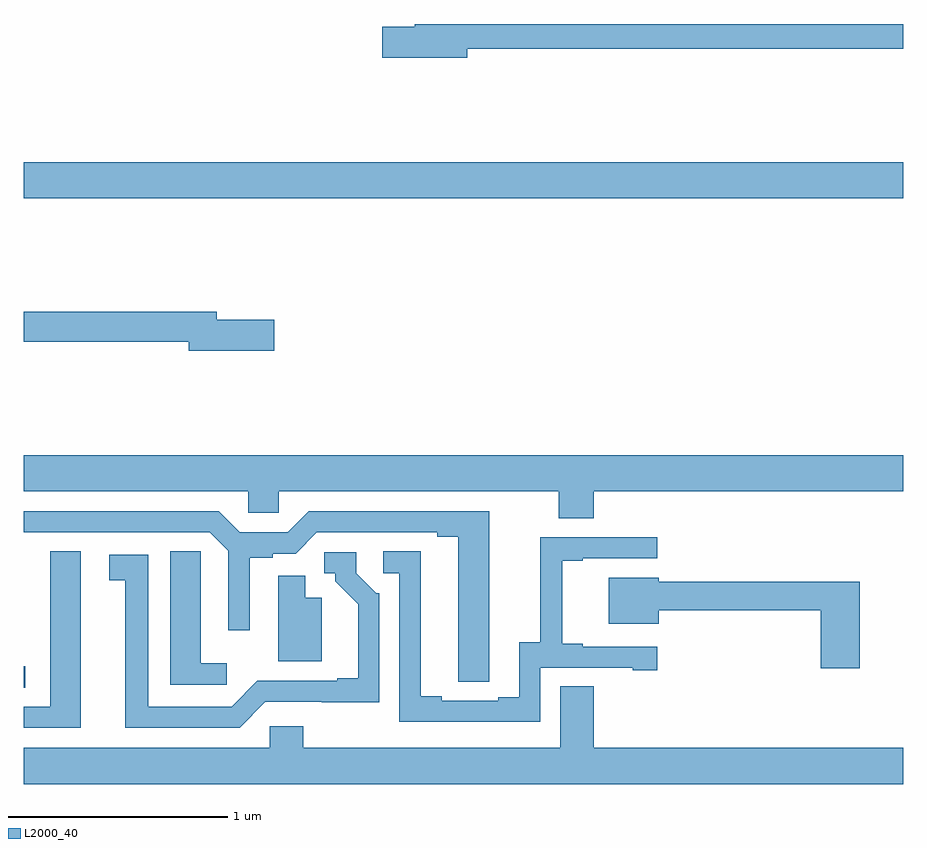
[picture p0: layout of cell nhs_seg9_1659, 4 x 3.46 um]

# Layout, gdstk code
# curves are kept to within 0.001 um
import gdstk
lib = gdstk.Library(unit=1e-6, precision=1e-09)
def R(c, l, rs):  # rectangles x0, y0, x1, y1
    for r in rs: c.add(gdstk.rectangle(r[:2], r[2:], *l))
def P(c, l, *ps):  # polygons
    for p in ps: c.add(gdstk.Polygon(p, *l))
L2000_40 = (2000, 40)

nhs_seg9_1659 = lib.new_cell('nhs_seg9_1659')
R(nhs_seg9_1659, L2000_40, [(203,1239.481,203.008,1239.579), (203,1241.708,207,1241.872)])
P(nhs_seg9_1659, L2000_40, [(205.018,1242.388),(207,1242.388),(207,1242.5),(204.779,1242.5),(204.779,1242.488),(204.63,1242.488),(204.63,1242.346),(205.018,1242.346)],
  [(204.139,1241.156),(203.878,1241.156),(203.878,1241.192),(203,1241.192),(203,1241.056),(203.75,1241.056),(203.75,1241.014),(204.139,1241.014)],
  [(205.592,1240.376),(207,1240.376),(207,1240.54),(203,1240.54),(203,1240.376),(204.021,1240.376),(204.021,1240.278),(204.159,1240.278),(204.159,1240.376),(205.432,1240.376),(205.432,1240.252),(205.592,1240.252)],
  [(205.116,1239.616),(205.117,1240.284),(204.297,1240.284),(204.201,1240.188),(203.983,1240.188),(203.887,1240.284),(203,1240.284),(203,1240.188),(203.847,1240.188),(203.931,1240.104),(203.931,1239.744),(204.028,1239.744),(204.028,1240.072),(204.132,1240.072),(204.132,1240.092),(204.237,1240.092),(204.333,1240.188),(204.881,1240.188),(204.881,1240.168),(204.977,1240.168),(204.977,1239.508),(205.116,1239.508)],
  [(205.35,1239.573),(205.769,1239.573),(205.769,1239.561),(205.882,1239.561),(205.882,1239.669),(205.543,1239.669),(205.543,1239.682),(205.448,1239.682),(205.448,1240.059),(205.543,1240.059),(205.543,1240.071),(205.882,1240.071),(205.882,1240.167),(205.348,1240.167),(205.348,1239.689),(205.253,1239.689),(205.253,1239.438),(205.157,1239.438),(205.157,1239.423),(204.901,1239.423),(204.901,1239.443),(204.805,1239.443),(204.805,1240.103),(204.636,1240.103),(204.636,1240.002),(204.708,1240.002),(204.708,1239.327),(205.35,1239.327)],
  [(203.923,1239.592),(203.806,1239.592),(203.806,1239.995),(203.805,1239.995),(203.805,1240.103),(203.666,1240.103),(203.666,1239.495),(203.923,1239.495)],
  [(203.26,1240.102),(203.12,1240.102),(203.12,1239.396),(203,1239.396),(203,1239.3),(203.26,1239.3)],
  [(204.099,1239.417),(204.618,1239.416),(204.618,1239.912),(204.603,1239.912),(204.513,1240.002),(204.513,1240.098),(204.366,1240.098),(204.366,1240.002),(204.416,1240.002),(204.416,1239.967),(204.521,1239.862),(204.521,1239.526),(204.425,1239.526),(204.425,1239.513),(204.063,1239.513),(203.946,1239.396),(203.566,1239.396),(203.566,1240.086),(203.388,1240.086),(203.388,1239.97),(203.462,1239.97),(203.462,1239.3),(203.982,1239.3)],
  [(204.355,1239.892),(204.28,1239.892),(204.28,1239.991),(204.158,1239.991),(204.158,1239.602),(204.355,1239.602)],
  [(206.802,1239.964),(205.888,1239.964),(205.888,1239.982),(205.661,1239.982),(205.661,1239.773),(205.888,1239.773),(205.888,1239.835),(206.624,1239.835),(206.624,1239.57),(206.802,1239.57)],
  [(207,1239.208),(205.592,1239.208),(205.592,1239.488),(205.439,1239.488),(205.439,1239.208),(204.272,1239.208),(204.272,1239.306),(204.12,1239.306),(204.12,1239.208),(203,1239.208),(203,1239.044),(207,1239.044)])

lib.write_gds('nhs_seg9_1659.gds')
